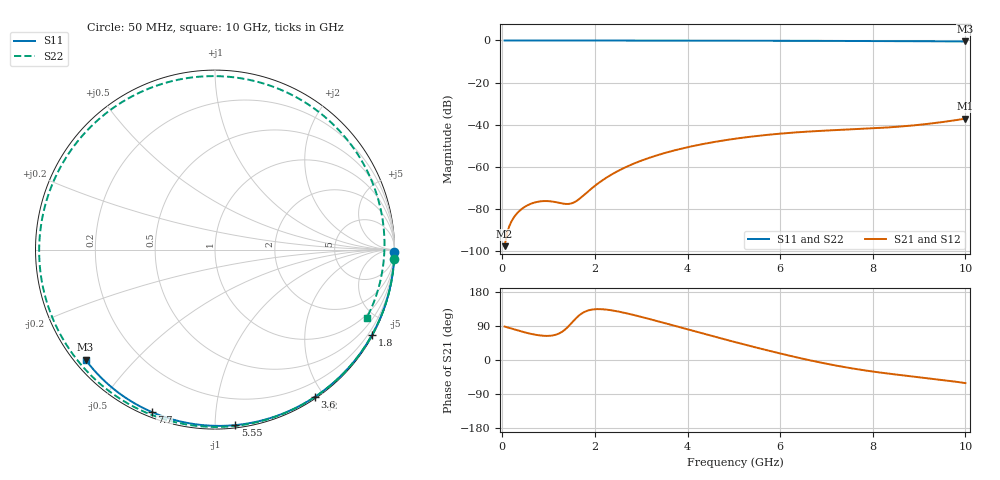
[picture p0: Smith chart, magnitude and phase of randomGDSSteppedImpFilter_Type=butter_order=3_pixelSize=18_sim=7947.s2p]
! freq	dB(S11)	phase(S11)	dB(S12)	phase(S12)
!  dB(S21)	phase(S21)	dB(S22)	phase(S22)
!S-par simulation data
#  GHz  S  DB  R 50
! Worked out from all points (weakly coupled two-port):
!   200 points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, 50 MHz to 10 GHz, reference 50 ohm
!   highest |S21| = -37.18 dB at 10 GHz (marker M1); lowest = -97.8 dB at 50 MHz (marker M2)
!   lowest |S11| = -0.5 dB at 10 GHz (marker M3), VSWR 36.56, Z = 1.55 - j18.4 ohm
!   |S11| at or under -10 dB: nowhere
!   |S22| runs from -0.7 to 0.0 dB; largest |S21 - S12| = 0
!   S11 on the Smith chart (normalised r, x): 50 MHz: open; 1.8 GHz: 0.03, -3.92; 3.6 GHz: 0.02, -1.88; 5.55 GHz: 0.02, -1.12; 7.7 GHz: 0.02, -0.68; 10 GHz: 0.03, -0.37
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0.05  -0.00 -0.8  -97.83 88.2  -97.83 88.2  -0.00 -3.0
0.45  -0.01 -7.2  -79.64 74.1  -79.64 74.1  -0.03 -26.4
0.7  -0.01 -11.2  -77.05 67.0  -77.05 67.0  -0.05 -40.7
0.95  -0.02 -15.2  -76.37 63.6  -76.37 63.6  -0.07 -54.5
1.45  -0.03 -23.1  -77.70 91.6  -77.70 91.6  -0.09 -80.5
1.75  -0.04 -27.8  -73.78 125.3  -73.78 125.3  -0.11 -95.0
1.8  -0.04 -28.6  -72.82 128.3  -72.82 128.3  -0.11 -97.3
2.15  -0.04 -34.1  -66.69 134.0  -66.69 134.0  -0.12 -113.0
2.5  -0.05 -39.4  -62.05 128.0  -62.05 128.0  -0.13 -127.7
2.95  -0.06 -46.3  -57.60 115.4  -57.60 115.4  -0.15 -145.4
3.4  -0.07 -53.0  -54.22 100.9  -54.22 100.9  -0.16 -161.9
3.6  -0.08 -55.9  -52.96 94.3  -52.96 94.3  -0.17 -169.0
4.3  -0.09 -66.0  -49.41 71.0  -49.41 71.0  -0.19 167.0
5.05  -0.12 -76.6  -46.67 46.5  -46.67 46.5  -0.22 142.0
5.55  -0.14 -83.4  -45.30 30.8  -45.30 30.8  -0.25 125.5
6.15  -0.16 -91.4  -44.05 12.9  -44.05 12.9  -0.27 105.5
6.7  -0.19 -98.6  -43.21 -2.3  -43.21 -2.3  -0.30 86.9
7.2  -0.22 -105.0  -42.63 -14.5  -42.63 -14.5  -0.32 69.9
7.7  -0.26 -111.3  -42.12 -25.0  -42.12 -25.0  -0.35 52.7
8.35  -0.31 -119.4  -41.33 -36.1  -41.33 -36.1  -0.40 30.4
9.15  -0.38 -129.3  -39.77 -47.4  -39.77 -47.4  -0.49 3.4
10  -0.48 -139.6  -37.18 -61.0  -37.18 -61.0  -0.66 -24.3
